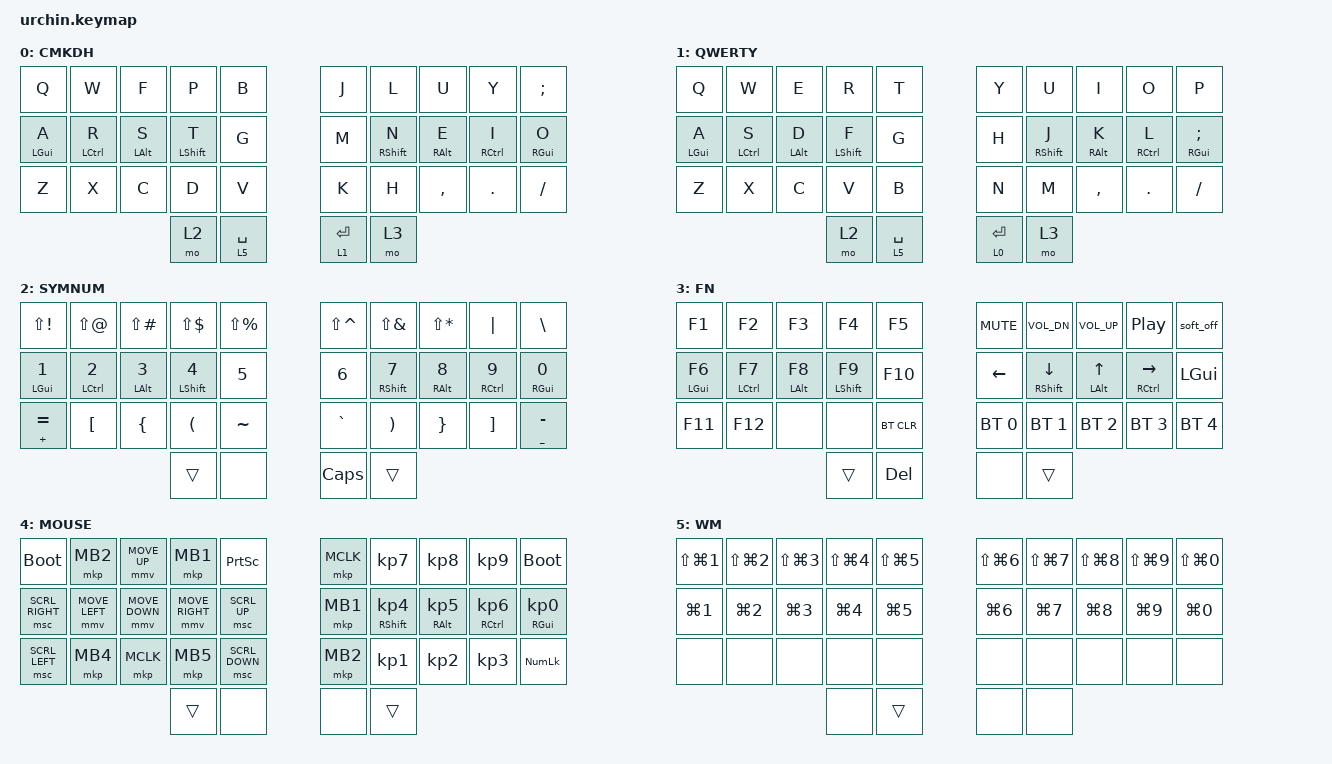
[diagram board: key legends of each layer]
#define ZMK_POINTING_DEFAULT_MOVE_VAL 1200  // 600
#define ZMK_POINTING_DEFAULT_SCRL_VAL 25   // 10

#include <input/processors.dtsi>
#include <zephyr/dt-bindings/input/input-event-codes.h>
#include <behaviors.dtsi>
#include <dt-bindings/zmk/bt.h>
#include <dt-bindings/zmk/keys.h>
#include <dt-bindings/zmk/pointing.h>

&mmv_input_listener { input-processors = <&zip_xy_scaler 2 1>; };

&msc_input_listener { input-processors = <&zip_scroll_scaler 2 1>; };

&mmv {
    time-to-max-speed-ms = <500>;
    acceleration-exponent = <1>;
    trigger-period-ms = <16>;
};

&mt {
    tapping-term-ms = <180>;
    quick-tap-ms = <180>;
    require-prior-idle-ms = <150>;
    flavor = "tap-preferred";
    hold-trigger-on-release;
    hold-trigger-key-positions = <11 10 11 12 13 16 17 18 19>;
};

/ {
    behaviors {
        mod_kp: mod_kp {
            compatible = "zmk,behavior-hold-tap";
            label = "MOD_KP";
            bindings = <&mo>, <&kp>;

            #binding-cells = <2>;
            tapping-term-ms = <180>;
            flavor = "hold-preferred";
            quick-tap-ms = <180>;
            hold-trigger-key-positions = <42 44 45 47 43 46 30 31 32 33>;
        };

        to_kp: to_kp {
            compatible = "zmk,behavior-hold-tap";
            label = "TO_KP";
            bindings = <&to>, <&kp>;

            #binding-cells = <2>;
            tapping-term-ms = <500>;
            flavor = "tap-preferred";
        };

        mt_pinky: mt_pinky {
            compatible = "zmk,behavior-hold-tap";
            label = "MT_PINKY";
            bindings = <&kp>, <&kp>;

            #binding-cells = <2>;
            tapping-term-ms = <200>;
            quick-tap-ms = <180>;
            require-prior-idle-ms = <150>;
            hold-trigger-on-release;
            hold-trigger-key-positions = <10 19>;
            flavor = "tap-preferred";
        };
    };

    combos {
        compatible = "zmk,combos";

        esc {
            bindings = <&kp ESC>;
            key-positions = <2 1>;
            layers = <0 1>;
            require-prior-idle-ms = <300>;
        };

        tab {
            bindings = <&kp TAB>;
            key-positions = <11 12>;
            layers = <0 1>;
            require-prior-idle-ms = <300>;
        };

        bspc {
            bindings = <&kp BSPC>;
            key-positions = <7 6>;
            layers = <0 1>;
            require-prior-idle-ms = <300>;
            timeout-ms = <40>;
        };

        quote {
            bindings = <&kp SINGLE_QUOTE>;
            key-positions = <27 28>;
            layers = <0 1>;
            require-prior-idle-ms = <300>;
            timeout-ms = <40>;
        };
    };

    keymap {
        compatible = "zmk,keymap";

        default_layer {
            display-name = "CMKDH";
            bindings = <
&kp Q             &kp W            &kp F           &kp P         &kp B  &kp J  &kp L         &kp U       &kp Y        &kp SEMI
&mt_pinky LGUI A  &mt LCTRL R      &mt LALT S      &mt LSHIFT T  &kp G  &kp M  &mt RSHIFT N  &mt RALT E  &mt RCTRL I  &mt_pinky RGUI O
&kp Z             &kp X            &kp C           &kp D         &kp V  &kp K  &kp H         &kp COMMA   &kp DOT      &kp FSLH
&mo 2             &mod_kp 5 SPACE  &to_kp 1 ENTER  &mo 3
            >;
        };

        layer_1 {
            display-name = "QWERTY";
            bindings = <
&kp Q             &kp W            &kp E           &kp R         &kp T  &kp Y  &kp U         &kp I       &kp O        &kp P
&mt_pinky LGUI A  &mt LCTRL S      &mt LALT D      &mt LSHIFT F  &kp G  &kp H  &mt RSHIFT J  &mt RALT K  &mt RCTRL L  &mt_pinky RGUI SEMI
&kp Z             &kp X            &kp C           &kp V         &kp B  &kp N  &kp M         &kp COMMA   &kp DOT      &kp FSLH
&mo 2             &mod_kp 5 SPACE  &to_kp 0 ENTER  &mo 3
            >;
        };

        layer_2 {
            display-name = "SYMNUM";
            bindings = <
&kp LS(EXCL)          &kp LS(AT)    &kp LS(POUND)  &kp LS(DLLR)   &kp LS(PRCNT)  &kp LS(CARET)  &kp LS(AMPS)   &kp LS(STAR)  &kp PIPE      &kp BSLH
&mt_pinky LGUI N1     &mt LCTRL N2  &mt LALT N3    &mt LSHIFT N4  &kp N5         &kp N6         &mt RSHIFT N7  &mt RALT N8   &mt RCTRL N9  &mt_pinky RGUI N0
&mt_pinky PLUS EQUAL  &kp LBKT      &kp LBRC       &kp LPAR       &kp TILDE      &kp GRAVE      &kp RPAR       &kp RBRC      &kp RBKT      &mt_pinky UNDERSCORE MINUS
&trans                &none         &kp CAPS       &trans
            >;
        };

        layer_3 {
            display-name = "FN";
            bindings = <
&kp F1             &kp F2        &kp F3       &kp F4         &kp F5      &kp C_MUTE    &kp C_VOL_DN     &kp C_VOL_UP  &kp C_PLAY_PAUSE  &soft_off
&mt_pinky LGUI F6  &mt LCTRL F7  &mt LALT F8  &mt LSHIFT F9  &kp F10     &kp LEFT      &mt RSHIFT DOWN  &mt LALT UP   &mt RCTRL RIGHT   &kp LGUI
&kp F11            &kp F12       &none        &none          &bt BT_CLR  &bt BT_SEL 0  &bt BT_SEL 1     &bt BT_SEL 2  &bt BT_SEL 3      &bt BT_SEL 4
&trans             &kp DELETE    &none        &trans
            >;
        };

        layer_4 {
            display-name = "MOUSE";
            bindings = <
&bootloader      &mkp MB2        &mmv MOVE_UP    &mkp MB1         &kp PRINTSCREEN  &mkp MCLK  &kp KP_N7         &kp KP_N8       &kp KP_N9        &bootloader
&msc SCRL_RIGHT  &mmv MOVE_LEFT  &mmv MOVE_DOWN  &mmv MOVE_RIGHT  &msc SCRL_UP     &mkp MB1   &mt RSHIFT KP_N4  &mt RALT KP_N5  &mt RCTRL KP_N6  &mt_pinky RGUI KP_N0
&msc SCRL_LEFT   &mkp MB4        &mkp MCLK       &mkp MB5         &msc SCRL_DOWN   &mkp MB2   &kp KP_N1         &kp KP_N2       &kp KP_N3        &kp KP_NUM
&trans           &none           &none           &trans
            >;
        };

        layer_5 {
            display-name = "WM";
            bindings = <
&kp LS(LG(N1))  &kp LS(LG(N2))  &kp LS(LG(N3))  &kp LS(LG(N4))  &kp LS(LG(N5))  &kp LS(LG(N6))  &kp LS(LG(N7))  &kp LS(LG(N8))  &kp LS(LG(N9))  &kp LS(LG(N0))
&kp LG(N1)      &kp LG(N2)      &kp LG(N3)      &kp LG(N4)      &kp LG(N5)      &kp LG(N6)      &kp LG(N7)      &kp LG(N8)      &kp LG(N9)      &kp LG(N0)
&none           &none           &none           &none           &none           &none           &none           &none           &none           &none
&none           &trans          &none           &none
            >;
        };
    };

    conditional_layers {
        compatible = "zmk,conditional-layers";

        MOUSENUMPAD {
            if-layers = <2 3>;
            then-layer = <4>;
        };
    };
};
